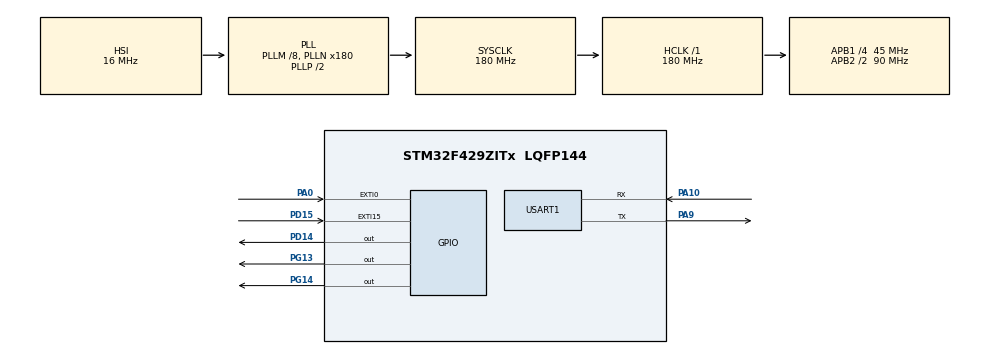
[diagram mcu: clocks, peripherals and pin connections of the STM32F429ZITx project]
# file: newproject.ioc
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Mcu.Family=STM32F4
Mcu.Name=STM32F429ZITx
Mcu.Package=LQFP144
NVIC.EXTI0_IRQn=true\:0\:0\:false\:false\:true\:true\:true\:true
NVIC.EXTI15_10_IRQn=true\:0\:0\:false\:false\:true\:true\:true\:true
NVIC.PriorityGroup=NVIC_PRIORITYGROUP_4
NVIC.TIM6_DAC_IRQn=true\:0\:0\:false\:false\:true\:true\:true\:true
PA0/WKUP.Signal=GPXTI0
PA10.Mode=Asynchronous
PA10.Signal=USART1_RX
PA9.Mode=Asynchronous
PA9.Signal=USART1_TX
PD14.Signal=GPIO_Output
PD15.GPIO_ModeDefaultEXTI=GPIO_MODE_IT_RISING_FALLING
PD15.Signal=GPXTI15
PG13.Signal=GPIO_Output
PG14.Signal=GPIO_Output
ProjectManager.HeapSize=0x200
ProjectManager.StackSize=0x400
ProjectManager.TargetToolchain=STM32CubeIDE
RCC.48MHZClocksFreq_Value=90000000
RCC.AHBFreq_Value=180000000
RCC.APB1CLKDivider=RCC_HCLK_DIV4
RCC.APB1Freq_Value=45000000
RCC.APB1TimFreq_Value=90000000
RCC.APB2CLKDivider=RCC_HCLK_DIV2
RCC.APB2Freq_Value=90000000
RCC.APB2TimFreq_Value=180000000
RCC.CortexFreq_Value=180000000
RCC.HCLKFreq_Value=180000000
RCC.HSE_VALUE=25000000
RCC.HSI_VALUE=16000000
RCC.LSE_VALUE=32768
RCC.PLLM=8
RCC.PLLN=180
RCC.SYSCLKFreq_VALUE=180000000
RCC.SYSCLKSource=RCC_SYSCLKSOURCE_PLLCLK
RCC.VCOOutputFreq_Value=360000000
TIM6.Period=65535
TIM6.Prescaler=89
USART1.VirtualMode=VM_ASYNC
VP_TIM6_VS_ClockSourceINT.Mode=Enable_Timer
board=custom

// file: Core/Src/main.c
/* USER CODE BEGIN Header */
/**
  ******************************************************************************
  * @file           : main.c
  * @brief          : Main program body
  ******************************************************************************
  * @attention
  *
  * Copyright (c) 2025 STMicroelectronics.
  * All rights reserved.
  *
  * This software is licensed under terms that can be found in the LICENSE file
  * in the root directory of this software component.
  * If no LICENSE file comes with this software, it is provided AS-IS.
  *
  ******************************************************************************
  */
/* USER CODE END Header */
#include "main.h"
#include "string.h"
#include <stdio.h>

/* USER CODE BEGIN PD */
#define TRIG_PIN        GPIO_PIN_14
#define TRIG_PORT       GPIOD

#define ECHO_PIN        GPIO_PIN_15
#define ECHO_PORT       GPIOD

#define LED_RED_PIN     GPIO_PIN_14   // PG14 = đỏ
#define LED_GREEN_PIN   GPIO_PIN_13   // PG13 = xanh
#define LED_PORT        GPIOG
/* USER CODE END PD */

TIM_HandleTypeDef htim6;

UART_HandleTypeDef huart1;

/* USER CODE BEGIN PV */
volatile uint8_t echo_capturing = 0;
volatile uint8_t echo_ready = 0;
volatile uint16_t echo_time_us = 0;
volatile float distance_cm = 0.0f;

uint32_t last_trigger_tick = 0;
uint32_t last_pwm_tick = 0;
uint8_t pwm_counter = 0;   // 0..99
uint8_t green_duty = 0;    // 0..100 (%)
/* USER CODE END PV */

void SystemClock_Config(void);
static void MX_GPIO_Init(void);
static void MX_TIM6_Init(void);
static void MX_USART1_UART_Init(void);
/* USER CODE BEGIN PFP */
static void delay_us(uint16_t us);
static void HCSR04_Trigger(void);
static uint8_t Distance_To_GreenDuty(float x);
static void Update_LED_By_Distance(float x);
/* USER CODE END PFP */

/* USER CODE BEGIN 0 */

static void delay_us(uint16_t us)
{
  __HAL_TIM_SET_COUNTER(&htim6, 0);
  while (__HAL_TIM_GET_COUNTER(&htim6) < us);
}

static void HCSR04_Trigger(void)
{
  HAL_GPIO_WritePin(TRIG_PORT, TRIG_PIN, GPIO_PIN_RESET);
  delay_us(2);

  HAL_GPIO_WritePin(TRIG_PORT, TRIG_PIN, GPIO_PIN_SET);
  delay_us(12);   // >= 10us
  HAL_GPIO_WritePin(TRIG_PORT, TRIG_PIN, GPIO_PIN_RESET);
}

static uint8_t Distance_To_GreenDuty(float x)
{
  if (x <= 20.0f) return 0;
  if (x >= 50.0f) return 100;

  // ánh xạ 20..50 cm -> 0..100%
  return (uint8_t)(((x - 20.0f) * 100.0f) / 30.0f);
}

static void Update_LED_By_Distance(float x)
{
  // PG14 = đỏ, PG13 = xanh

  if (x < 20.0f)
  {
    HAL_GPIO_WritePin(LED_PORT, LED_RED_PIN, GPIO_PIN_SET);     // đỏ ON
    green_duty = 0;                                             // xanh OFF
  }
  else if (x > 50.0f)
  {
    HAL_GPIO_WritePin(LED_PORT, LED_RED_PIN, GPIO_PIN_RESET);   // đỏ OFF
    green_duty = 100;                                           // xanh max
  }
  else
  {
    HAL_GPIO_WritePin(LED_PORT, LED_RED_PIN, GPIO_PIN_RESET);   // đỏ OFF
    green_duty = Distance_To_GreenDuty(x);                      // xanh sáng mờ
  }
}

void HAL_GPIO_EXTI_Callback(uint16_t GPIO_Pin)
{
  if (GPIO_Pin == ECHO_PIN)
  {
    GPIO_PinState state = HAL_GPIO_ReadPin(ECHO_PORT, ECHO_PIN);

    if (state == GPIO_PIN_SET)
    {
      // sườn lên: bắt đầu đo
      __HAL_TIM_SET_COUNTER(&htim6, 0);
      echo_capturing = 1;
    }
    else
    {
      // sườn xuống: kết thúc đo
      if (echo_capturing)
      {
        echo_time_us = __HAL_TIM_GET_COUNTER(&htim6);
        echo_capturing = 0;
        echo_ready = 1;

        // distance(cm) = time(us) / 58
        distance_cm = (float)echo_time_us / 58.0f;
      }
    }
  }
}

/* USER CODE END 0 */

int main(void)
{

  /* MCU Configuration--------------------------------------------------------*/

  /* Reset of all peripherals, Initializes the Flash interface and the Systick. */
  HAL_Init();

  /* Configure the system clock */
  SystemClock_Config();

  /* Initialize all configured peripherals */
  MX_GPIO_Init();
  MX_TIM6_Init();
  MX_USART1_UART_Init();
  /* USER CODE BEGIN 2 */
  HAL_TIM_Base_Start(&htim6);

  HAL_GPIO_WritePin(LED_PORT, LED_RED_PIN | LED_GREEN_PIN, GPIO_PIN_RESET);
  HAL_GPIO_WritePin(TRIG_PORT, TRIG_PIN, GPIO_PIN_RESET);

  last_trigger_tick = HAL_GetTick();
  last_pwm_tick = HAL_GetTick();
  /* USER CODE END 2 */

  /* Infinite loop */
  /* USER CODE BEGIN WHILE */
  while (1)
  {
    // đo liên tục mỗi 30 ms
    if (HAL_GetTick() - last_trigger_tick >= 30)
    {
      last_trigger_tick = HAL_GetTick();
      HCSR04_Trigger();
    }

    // có kết quả đo mới
    if (echo_ready)
    {
      echo_ready = 0;
      Update_LED_By_Distance(distance_cm);
    }

    // gửi UART mỗi 100 ms (không block)
    static uint32_t last_uart_tick = 0;
    if (HAL_GetTick() - last_uart_tick >= 100)
    {
      last_uart_tick = HAL_GetTick();

      char buf[32];
      uint16_t d_cm = (uint16_t)(distance_cm + 0.5f);
      int len = snprintf(buf, sizeof(buf), "Distance: %u cm\r\n", d_cm);
      HAL_UART_Transmit(&huart1, (uint8_t*)buf, len, 50);
    }

    // software PWM cho LED xanh
    if (HAL_GetTick() - last_pwm_tick >= 1)
    {
      last_pwm_tick = HAL_GetTick();

      pwm_counter++;
      if (pwm_counter >= 25)   // chu ky 25ms ~ 40Hz
        pwm_counter = 0;

      if (green_duty == 0)
      {
        HAL_GPIO_WritePin(LED_PORT, LED_GREEN_PIN, GPIO_PIN_RESET);
      }
      else if (green_duty >= 100)
      {
        HAL_GPIO_WritePin(LED_PORT, LED_GREEN_PIN, GPIO_PIN_SET);
      }
      else
      {
        uint8_t on_steps = (green_duty * 25) / 100;  // map 0..100 -> 0..25
        if (pwm_counter < on_steps)
          HAL_GPIO_WritePin(LED_PORT, LED_GREEN_PIN, GPIO_PIN_SET);
        else
          HAL_GPIO_WritePin(LED_PORT, LED_GREEN_PIN, GPIO_PIN_RESET);
      }
    }
  }  /* USER CODE END 3 */
}

void SystemClock_Config(void)
{
  RCC_OscInitTypeDef RCC_OscInitStruct = {0};
  RCC_ClkInitTypeDef RCC_ClkInitStruct = {0};

  /** Configure the main internal regulator output voltage
  */
  __HAL_RCC_PWR_CLK_ENABLE();
  __HAL_PWR_VOLTAGESCALING_CONFIG(PWR_REGULATOR_VOLTAGE_SCALE1);

  /** Initializes the RCC Oscillators according to the specified parameters
  * in the RCC_OscInitTypeDef structure.
  */
  RCC_OscInitStruct.OscillatorType = RCC_OSCILLATORTYPE_HSI;
  RCC_OscInitStruct.HSIState = RCC_HSI_ON;
  RCC_OscInitStruct.HSICalibrationValue = RCC_HSICALIBRATION_DEFAULT;
  RCC_OscInitStruct.PLL.PLLState = RCC_PLL_ON;
  RCC_OscInitStruct.PLL.PLLSource = RCC_PLLSOURCE_HSI;
  RCC_OscInitStruct.PLL.PLLM = 8;
  RCC_OscInitStruct.PLL.PLLN = 180;
  RCC_OscInitStruct.PLL.PLLP = RCC_PLLP_DIV2;
  RCC_OscInitStruct.PLL.PLLQ = 4;
  if (HAL_RCC_OscConfig(&RCC_OscInitStruct) != HAL_OK)
  {
    Error_Handler();
  }

  /** Activate the Over-Drive mode
  */
  if (HAL_PWREx_EnableOverDrive() != HAL_OK)
  {
    Error_Handler();
  }

  /** Initializes the CPU, AHB and APB buses clocks
  */
  RCC_ClkInitStruct.ClockType = RCC_CLOCKTYPE_HCLK|RCC_CLOCKTYPE_SYSCLK
                              |RCC_CLOCKTYPE_PCLK1|RCC_CLOCKTYPE_PCLK2;
  RCC_ClkInitStruct.SYSCLKSource = RCC_SYSCLKSOURCE_PLLCLK;
  RCC_ClkInitStruct.AHBCLKDivider = RCC_SYSCLK_DIV1;
  RCC_ClkInitStruct.APB1CLKDivider = RCC_HCLK_DIV4;
  RCC_ClkInitStruct.APB2CLKDivider = RCC_HCLK_DIV2;

  if (HAL_RCC_ClockConfig(&RCC_ClkInitStruct, FLASH_LATENCY_5) != HAL_OK)
  {
    Error_Handler();
  }
}

static void MX_TIM6_Init(void)
{

  TIM_MasterConfigTypeDef sMasterConfig = {0};

  htim6.Instance = TIM6;
  htim6.Init.Prescaler = 89;
  htim6.Init.CounterMode = TIM_COUNTERMODE_UP;
  htim6.Init.Period = 65535;
  htim6.Init.AutoReloadPreload = TIM_AUTORELOAD_PRELOAD_DISABLE;
  if (HAL_TIM_Base_Init(&htim6) != HAL_OK)
  {
    Error_Handler();
  }
  sMasterConfig.MasterOutputTrigger = TIM_TRGO_RESET;
  sMasterConfig.MasterSlaveMode = TIM_MASTERSLAVEMODE_DISABLE;
  if (HAL_TIMEx_MasterConfigSynchronization(&htim6, &sMasterConfig) != HAL_OK)
  {
    Error_Handler();
  }

}

static void MX_USART1_UART_Init(void)
{

  huart1.Instance = USART1;
  huart1.Init.BaudRate = 115200;
  huart1.Init.WordLength = UART_WORDLENGTH_8B;
  huart1.Init.StopBits = UART_STOPBITS_1;
  huart1.Init.Parity = UART_PARITY_NONE;
  huart1.Init.Mode = UART_MODE_TX_RX;
  huart1.Init.HwFlowCtl = UART_HWCONTROL_NONE;
  huart1.Init.OverSampling = UART_OVERSAMPLING_16;
  if (HAL_UART_Init(&huart1) != HAL_OK)
  {
    Error_Handler();
  }

}

static void MX_GPIO_Init(void)
{
  GPIO_InitTypeDef GPIO_InitStruct = {0};

  /* GPIO Ports Clock Enable */
  __HAL_RCC_GPIOA_CLK_ENABLE();
  __HAL_RCC_GPIOD_CLK_ENABLE();
  __HAL_RCC_GPIOG_CLK_ENABLE();

  /*Configure GPIO pin Output Level */
  HAL_GPIO_WritePin(GPIOD, GPIO_PIN_14, GPIO_PIN_RESET);

  /*Configure GPIO pin Output Level */
  HAL_GPIO_WritePin(GPIOG, GPIO_PIN_13|GPIO_PIN_14, GPIO_PIN_RESET);

  /*Configure GPIO pin : PA0 */
  GPIO_InitStruct.Pin = GPIO_PIN_0;
  GPIO_InitStruct.Mode = GPIO_MODE_IT_RISING;
  GPIO_InitStruct.Pull = GPIO_NOPULL;
  HAL_GPIO_Init(GPIOA, &GPIO_InitStruct);

  /*Configure GPIO pin : PD14 */
  GPIO_InitStruct.Pin = GPIO_PIN_14;
  GPIO_InitStruct.Mode = GPIO_MODE_OUTPUT_PP;
  GPIO_InitStruct.Pull = GPIO_NOPULL;
  GPIO_InitStruct.Speed = GPIO_SPEED_FREQ_LOW;
  HAL_GPIO_Init(GPIOD, &GPIO_InitStruct);

  /*Configure GPIO pin : PD15 */
  GPIO_InitStruct.Pin = GPIO_PIN_15;
  GPIO_InitStruct.Mode = GPIO_MODE_IT_RISING_FALLING;
  GPIO_InitStruct.Pull = GPIO_NOPULL;
  HAL_GPIO_Init(GPIOD, &GPIO_InitStruct);

  /*Configure GPIO pins : PG13 PG14 */
  GPIO_InitStruct.Pin = GPIO_PIN_13|GPIO_PIN_14;
  GPIO_InitStruct.Mode = GPIO_MODE_OUTPUT_PP;
  GPIO_InitStruct.Pull = GPIO_NOPULL;
  GPIO_InitStruct.Speed = GPIO_SPEED_FREQ_LOW;
  HAL_GPIO_Init(GPIOG, &GPIO_InitStruct);

  /* EXTI interrupt init*/
  HAL_NVIC_SetPriority(EXTI0_IRQn, 0, 0);
  HAL_NVIC_EnableIRQ(EXTI0_IRQn);

  HAL_NVIC_SetPriority(EXTI15_10_IRQn, 0, 0);
  HAL_NVIC_EnableIRQ(EXTI15_10_IRQn);

}

void Error_Handler(void)
{
  __disable_irq();
  while (1)
  {
  }
}
